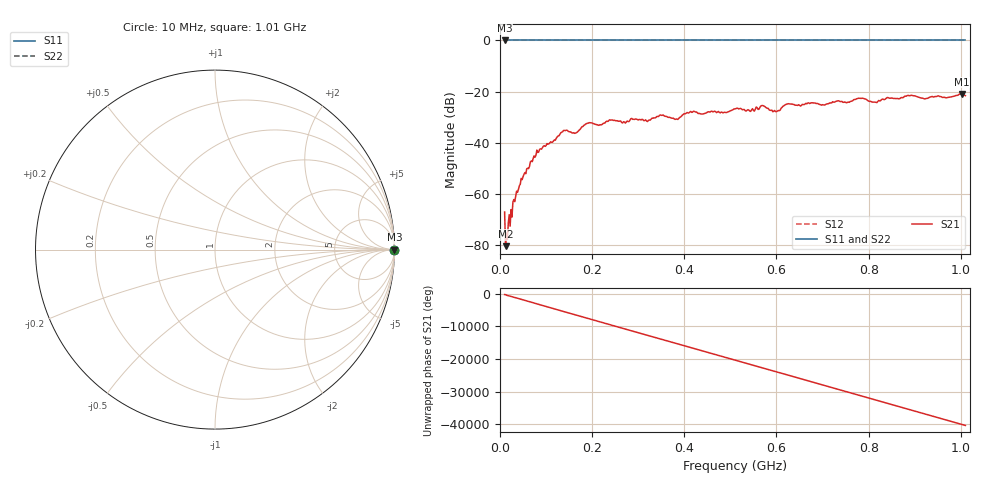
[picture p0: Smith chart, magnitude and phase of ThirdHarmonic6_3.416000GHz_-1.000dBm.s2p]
! 8/17/2025 10:57:02 AM
! C:\ANRITSUVNA\TEMP\TEMP.S2P
! CHANNEL.1
! TR.MEASUREMENT
! RAW.DATA
! RF.CORRECTION.OFF
! AVERAGING.OFF
! IF.BANDWIDTH: 5KHZ
! SWEEPTYPE:  FREQ.SWEEP(Linear)
! Reference Plane Port Info
! PORT:  PORT1  PORT2
! DISTANCE:  0  m  0  m
! TIME:  0  s  0  s
! PHASE.OFFSET:  0  deg.  0  deg.
! LOSS:  0  dB  0  dB
! REF.LOSS:  0  dB  0  dB
! REF.FREQ:  0  Hz  0  Hz
! Power Info
! POWER:  -20  dBm  -20  dBm
! EFF.POWER:  -20  dBm  -20  dBm
! SOURCE.ATTEN:  0  dB  0  dB
! TEST.ATTEN:  0  dB  0  dB
# GHZ S RI R 50.0
! FREQ.GHZ  S11RE  S11IM  S21RE  S21IM  S12RE  S12IM  S22RE  S22IM
!; PortSelection: Port_12
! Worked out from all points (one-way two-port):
!   501 points, 10 MHz to 1.01 GHz, reference 50 ohm
!   highest |S21| = -20.87 dB at 1.002 GHz (marker M1); lowest = -80.4 dB at 12 MHz (marker M2)
!   lowest |S11| = 0.0 dB at 10 MHz (marker M3)
!   |S11| at or under -10 dB: nowhere
!   |S22| runs from 0.0 to 0.0 dB; largest |S21 - S12| = 1.1
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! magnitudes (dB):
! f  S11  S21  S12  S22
! 10 MHz  0.0  -67.0  0.0  0.0
! 12 MHz  0.0  -80.4  0.0  0.0
! 16 MHz  0.0  -77.8  0.0  0.0
! 32 MHz  0.0  -63.0  0.0  0.0
! 50 MHz  0.0  -53.2  0.0  0.0
! 76 MHz  0.0  -45.6  0.0  0.0
! 136 MHz  0.0  -35.6  0.0  0.0
! 162 MHz  0.0  -36.3  0.0  0.0
! 178 MHz  0.0  -33.7  0.0  0.0
! 344 MHz  0.0  -29.7  0.0  0.0
! 382 MHz  0.0  -30.7  0.0  0.0
! 416 MHz  0.0  -28.1  0.0  0.0
! 510 MHz  0.0  -26.7  0.0  0.0
! 570 MHz  0.0  -25.4  0.0  0.0
! 596 MHz  0.0  -27.4  0.0  0.0
! 624 MHz  0.0  -24.8  0.0  0.0
! 678 MHz  0.0  -24.4  0.0  0.0
! 782 MHz  0.0  -22.6  0.0  0.0
! 814 MHz  0.0  -24.1  0.0  0.0
! 844 MHz  0.0  -22.5  0.0  0.0
! 1.002 GHz  0.0  -20.9  0.0  0.0
! 1.01 GHz  0.0  -21.6  0.0  0.0
